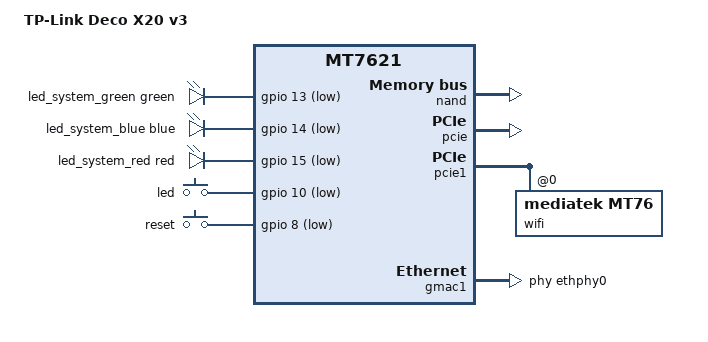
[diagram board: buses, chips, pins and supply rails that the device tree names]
// SPDX-License-Identifier: GPL-2.0-or-later

#include "mt7621.dtsi"

#include <dt-bindings/gpio/gpio.h>
#include <dt-bindings/input/input.h>
#include <dt-bindings/leds/common.h>

/ {
	compatible = "tplink,deco-x20-v3", "mediatek,mt7621-soc";
	model = "TP-Link Deco X20 v3";

	aliases {
		label-mac-device = &gmac0;
		led-boot = &led_system_blue;
		led-failsafe = &led_system_blue;
		led-running = &led_system_green;
		led-upgrade = &led_system_red;
	};

	chosen {
		bootargs = "console=ttyS0,115200";
	};

	leds {
		compatible = "gpio-leds";

		led_system_green: green {
			color = <LED_COLOR_ID_GREEN>;
			function = LED_FUNCTION_STATUS;
			gpios = <&gpio 13 GPIO_ACTIVE_LOW>;
		};
		
		led_system_blue: blue {
			color = <LED_COLOR_ID_BLUE>;
			function = LED_FUNCTION_STATUS;
			gpios = <&gpio 14 GPIO_ACTIVE_LOW>;
		};
		
		led_system_red: red {
			color = <LED_COLOR_ID_RED>;
			function = LED_FUNCTION_STATUS;
			gpios = <&gpio 15 GPIO_ACTIVE_LOW>;
		};
	};

	keys {
		compatible = "gpio-keys";

		led {
			label = "led";
			gpios = <&gpio 10 GPIO_ACTIVE_LOW>;
			linux,code = <KEY_LIGHTS_TOGGLE>;
		};

		reset {
			label = "reset";
			gpios = <&gpio 8 GPIO_ACTIVE_LOW>;
			linux,code = <KEY_RESTART>;
		};
	};
};

&nand {
	status = "okay";

	partitions {
		compatible = "fixed-partitions";
		#address-cells = <1>;
		#size-cells = <1>;

		partition@0 {
			label = "uboot";
			reg = <0x0 0x100000>;
			read-only;
		};

		partition@100000 {
			label = "ubootenv";
			reg = <0x100000 0x100000>;
		};
		
		partition@200000 {
			label = "radio";
			reg = <0x200000 0x100000>;
			read-only;
		};
		
		partition@300000 {
			label = "os0";
			reg = <0x300000 0x2A00000>;
			compatible = "fixed-partitions";
			#address-cells = <1>;
			#size-cells = <1>;

			partition@0 {
				label = "kernel";
				reg = <0x0 0x800000>;
			};

			partition@800000 {
				label = "ubi";
				reg = <0x800000 0x2200000>;
			};
		};
		
		partition@2d00000 {
			label = "os1";
			reg = <0x2d00000 0x2A00000>;
		};
		
		partition@5700000 {
			label = "factory_data";
			reg = <0x5700000 0x900000>;
		};
		
		partition@6000000 {
			label = "runtime_data";
			reg = <0x6000000 0x1100000>;
		};
		
		partition@7100000 {
			label = "balance_flash";
			reg = <0x7100000 0xE80000>;
		};
	};
};

&state_default {
	gpio {
		groups = "uart2", "uart3", "jtag";
		function = "gpio";
	};
};

&pcie {
	status = "okay";
};

&pcie1 {
	wifi@0,0 {
		compatible = "mediatek,mt76";
		reg = <0x0000 0 0 0 0>;
		mediatek,disable-radar-background;
	};
};

&gmac1 {
	status = "okay";
	label = "wan";
	phy-handle = <&ethphy0>;
};

&switch0 {
	ports {
		port@1 {
			status = "okay";
			label = "lan";
		};
	};
};

&ethphy0 {
	/delete-property/ interrupts;
};
